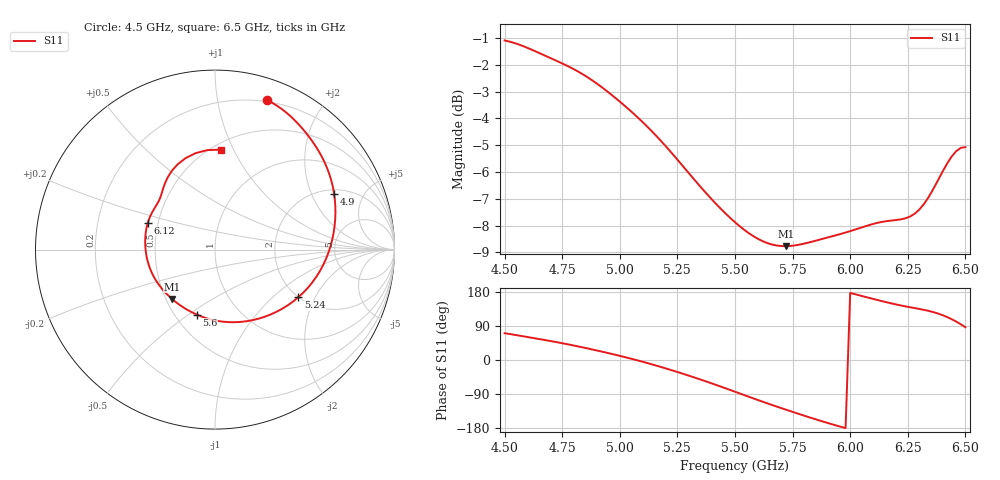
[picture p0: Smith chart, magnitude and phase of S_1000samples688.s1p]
! TOUCHSTONE file generated by CST MICROWAVE STUDIO
! Date and time: Sat Oct 29 01:03:18 2022
! Project name: L.cst
! Parameters = {Di=1.27; Epsilon_r=1.56; InnerDiameter=1.27; Length=2; Lf=10; Lg=60; OuterConductorThickness=0.2921; OuterDiameter=3.6; Wf=3; Wp=41.2; de=1.5; df=6.8; g=0.8; gx=1.84322; gy=2.02878; h=2.34; hf=1.524; px=11.1751; py=12.1384; w=9.7; wx=9.33188; wy=10.1096}
! Header version: 2018
! Port assignment regex: !\s*Touchstone port\s*([0-9]+)\s*=\s*(CST MWS port|CST DS port)\s*([0-9]+|Zmin|Zmax)\s*\(\"(.*)\"\)(\s*mode\s*([0-9]+))?.*
! Touchstone port assignment:
! Touchstone port 1 = CST MWS port 1 ("")
# GHz S DB R 50
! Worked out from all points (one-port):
!   101 points, 4.5 GHz to 6.5 GHz, reference 50 ohm
!   lowest |S11| = -8.8 dB at 5.72 GHz (marker M1), VSWR 2.15, Z = 26.9 - j17.1 ohm
!   |S11| at or under -10 dB: nowhere
!   S11 on the Smith chart (normalised r, x): 4.5 GHz: 0.19, +1.39; 4.9 GHz: 2.20, +2.96; 5.24 GHz: 2.00, -1.48; 5.6 GHz: 0.64, -0.54; 6.12 GHz: 0.44, +0.16; 6.5 GHz: 0.55, +0.89
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4.5  -1.09 70.7
4.56  -1.24 64.7
4.62  -1.44 58.4
4.76  -1.99 43.1
4.84  -2.36 33.2
4.9  -2.70 25.2
5  -3.37 10.9
5.06  -3.82 1.7
5.12  -4.31 -8.1
5.18  -4.85 -18.7
5.24  -5.44 -29.8
5.26  -5.64 -33.6
5.32  -6.25 -45.4
5.38  -6.84 -57.7
5.44  -7.38 -70.5
5.5  -7.87 -83.7
5.6  -8.49 -105.7
5.72  -8.76 -130.9
5.76  -8.74 -138.9
5.88  -8.49 -162.1
6  -8.20 177.0
6.12  -7.89 158.1
6.26  -7.66 139.2
6.34  -6.94 129.6
6.4  -6.00 118.5
6.44  -5.43 107.8
6.48  -5.10 94.3
6.5  -5.07 86.6
